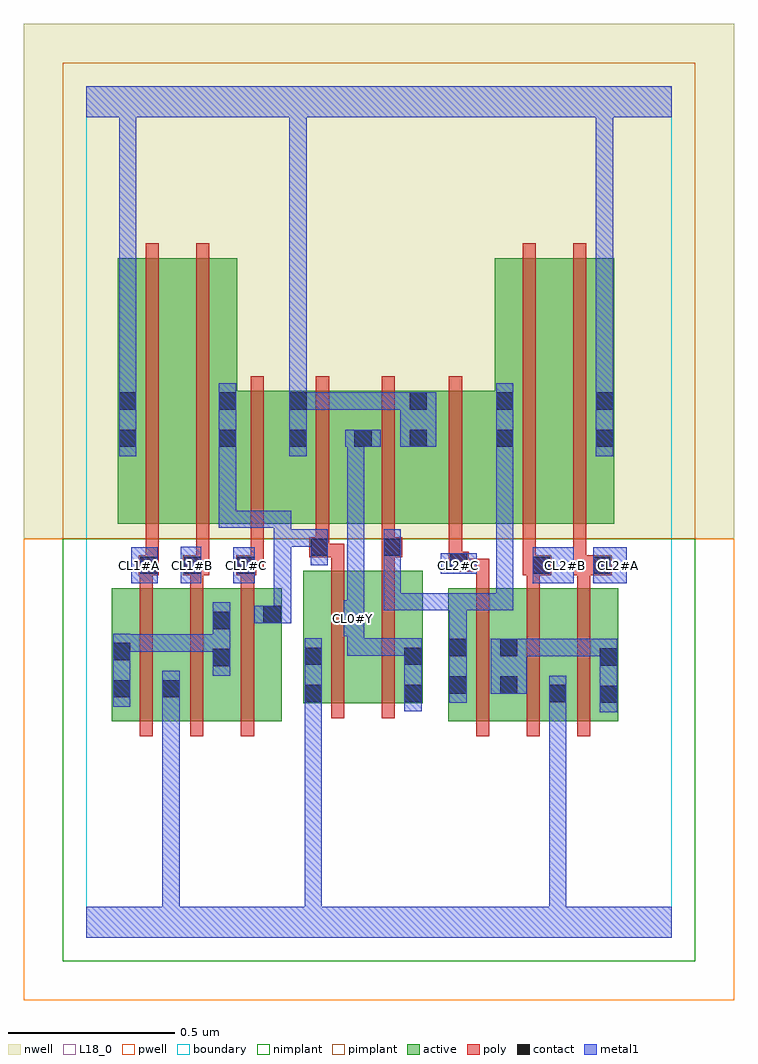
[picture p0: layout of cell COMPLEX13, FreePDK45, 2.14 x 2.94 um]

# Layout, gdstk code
import gdstk
lib = gdstk.Library(unit=1e-6, precision=1e-09)
def R(c, l, rs):  # rectangles x0, y0, x1, y1
    for r in rs: c.add(gdstk.rectangle(r[:2], r[2:], *l))
def A(c, l, x, y, w, h, nx, ny, dx, dy):  # array of equal rectangles
    R(c, l, [(x+i*dx, y+j*dy, x+i*dx+w, y+j*dy+h) for i in range(nx) for j in range(ny)])
active = (1, 0)
pwell = (2, 0)
nwell = (3, 0)
nimplant = (4, 0)
pimplant = (5, 0)
poly = (9, 0)
contact = (10, 0)
metal1 = (11, 0)
L18_0 = (18, 0)
boundary = (235, 0)

complex13 = lib.new_cell('COMPLEX13')
A(complex13, active, 0.224, 0.65, 0.06, 0.4, 3, 1, 0.152, 0)
R(complex13, active, [(0.076,0.65,0.136,1.05), (0.076,0.65,0.284,1.05), (0.224,0.65,0.436,1.05), (0.376,0.65,0.588,1.05), (1.088,0.65,1.3,1.05), (1.24,0.65,1.448,1.05), (1.388,0.65,1.6,1.05), (1.388,0.65,1.448,0.902), (1.54,0.65,1.6,1.05), (0.652,0.704,0.712,1.104), (0.652,0.704,0.832,1.104), (0.832,0.704,1.012,1.104), (0.952,0.704,1.012,1.104), (1.088,0.73,1.148,1.05), (1.24,0.73,1.3,0.902), (0.094,1.244,0.154,2.044), (0.094,1.244,0.274,2.044), (0.274,1.244,0.454,2.044), (0.394,1.244,0.454,2.044), (0.394,1.244,0.666,1.644), (0.606,1.244,0.666,1.644), (0.606,1.244,0.862,1.644), (0.802,1.244,0.862,1.644), (0.802,1.244,1.028,1.644), (0.968,1.244,1.028,1.644), (0.968,1.244,1.288,1.644), (1.228,1.244,1.288,2.044), (1.228,1.244,1.408,2.044), (1.408,1.244,1.588,2.044), (1.528,1.244,1.588,2.044)])
R(complex13, pwell, [(-0.188,-0.188,1.948,1.2)])
R(complex13, nwell, [(-0.188,1.2,1.948,2.748)])
R(complex13, nimplant, [(-0.072,-0.072,1.832,1.2)])
R(complex13, pimplant, [(-0.072,1.2,1.832,2.632)])
A(complex13, poly, 0.16, 0.606, 0.04, 0.488, 3, 1, 0.152, 0)
A(complex13, poly, 1.172, 0.606, 0.04, 0.488, 3, 1, 0.152, 0)
A(complex13, poly, 0.16, 1.054, 0.04, 0.076, 3, 1, 0.152, 0)
R(complex13, poly, [(0.736,0.66,0.776,1.148), (0.888,0.66,0.928,1.148), (1.172,1.054,1.212,1.14), (1.324,1.054,1.364,1.13), (1.476,1.054,1.516,1.13), (0.158,1.09,0.218,1.15), (0.16,1.09,0.2,1.13), (0.16,1.09,0.2,1.13), (0.29,1.09,0.37,1.15), (0.312,1.09,0.352,1.13), (0.312,1.09,0.352,1.13), (0.45,1.09,0.51,1.15), (1.312,1.09,1.398,1.15), (1.324,1.09,1.364,1.13), (1.324,1.09,1.364,1.13), (1.464,1.09,1.58,1.15), (1.476,1.09,1.516,1.13), (1.476,1.09,1.516,1.13), (1.09,1.1,1.15,1.16), (1.11,1.1,1.15,1.14), (1.11,1.1,1.212,1.14), (0.736,1.108,0.776,1.184), (0.888,1.108,0.928,1.184), (0.178,1.11,0.218,1.24), (0.33,1.11,0.37,1.24), (0.47,1.11,0.51,1.15), (0.47,1.11,0.534,1.15), (0.494,1.11,0.534,1.24), (1.312,1.11,1.352,1.24), (1.464,1.11,1.504,1.24), (1.09,1.12,1.13,1.24), (0.67,1.144,0.73,1.204), (0.69,1.144,0.73,1.184), (0.69,1.144,0.776,1.184), (0.888,1.144,0.95,1.204), (0.69,1.164,0.73,1.24), (0.888,1.164,0.928,1.204), (0.888,1.164,0.928,1.204), (0.888,1.164,0.928,1.24), (0.178,1.2,0.218,2.088), (0.33,1.2,0.37,2.088), (0.494,1.2,0.534,1.688), (0.69,1.2,0.73,1.688), (0.888,1.2,0.928,1.688), (1.09,1.2,1.13,1.688), (1.312,1.2,1.352,2.088), (1.464,1.2,1.504,2.088)])
R(complex13, contact, [(1.544,0.706,1.596,0.758), (0.656,0.708,0.708,0.76), (0.956,0.708,1.008,0.76), (1.392,0.708,1.444,0.76), (0.08,0.722,0.132,0.774), (0.228,0.722,0.28,0.774), (1.092,0.734,1.144,0.786), (1.244,0.734,1.296,0.786), (0.38,0.816,0.432,0.868), (1.544,0.818,1.596,0.87), (0.656,0.82,0.708,0.872), (0.956,0.82,1.008,0.872), (0.08,0.834,0.132,0.886), (1.092,0.846,1.144,0.898), (1.244,0.846,1.296,0.898), (0.38,0.928,0.432,0.98), (0.532,0.946,0.584,0.998), (0.162,1.094,0.214,1.146), (0.294,1.094,0.346,1.146), (0.454,1.094,0.506,1.146), (1.342,1.094,1.394,1.146), (1.524,1.094,1.576,1.146), (1.094,1.104,1.146,1.156), (0.674,1.148,0.726,1.2), (0.894,1.148,0.946,1.2), (0.098,1.476,0.15,1.528), (0.398,1.476,0.45,1.528), (0.61,1.476,0.662,1.528), (0.806,1.476,0.858,1.528), (0.972,1.476,1.024,1.528), (1.232,1.476,1.284,1.528), (1.532,1.476,1.584,1.528), (0.098,1.588,0.15,1.64), (0.398,1.588,0.45,1.64), (0.61,1.588,0.662,1.64), (0.972,1.588,1.024,1.64), (1.232,1.588,1.284,1.64), (1.532,1.588,1.584,1.64)])
R(complex13, metal1, [(0,0,1.76,0.092), (0.228,0.04,0.28,0.092), (0.228,0.04,0.28,0.092), (0.228,0.04,0.28,0.092), (0.228,0.04,0.28,0.092), (0.228,0.04,0.28,0.092), (0.228,0.04,0.28,0.092), (0.228,0.04,0.28,0.092), (0.228,0.04,0.28,0.092), (0.228,0.04,0.28,0.092), (0.228,0.04,0.28,0.092), (0.228,0.04,0.28,0.746), (0.656,0.04,0.708,0.092), (0.656,0.04,0.708,0.092), (0.656,0.04,0.708,0.092), (0.656,0.04,0.708,0.092), (0.656,0.04,0.708,0.092), (0.656,0.04,0.708,0.092), (0.656,0.04,0.708,0.092), (0.656,0.04,0.708,0.092), (0.656,0.04,0.708,0.092), (0.656,0.04,0.708,0.092), (0.656,0.04,0.708,0.732), (1.392,0.04,1.444,0.092), (1.392,0.04,1.444,0.092), (1.392,0.04,1.444,0.092), (1.392,0.04,1.444,0.092), (1.392,0.04,1.444,0.092), (1.392,0.04,1.444,0.092), (1.392,0.04,1.444,0.092), (1.392,0.04,1.444,0.092), (1.392,0.04,1.444,0.732), (1.544,0.678,1.596,0.898), (0.656,0.68,0.708,0.732), (0.656,0.68,0.708,0.732), (0.656,0.68,0.708,0.9), (0.956,0.68,1.008,0.9), (1.392,0.68,1.444,0.732), (1.392,0.68,1.444,0.732), (1.392,0.68,1.444,0.732), (1.392,0.68,1.444,0.732), (1.392,0.68,1.444,0.788), (0.08,0.694,0.132,0.914), (0.228,0.694,0.28,0.746), (0.228,0.694,0.28,0.746), (0.228,0.694,0.28,0.802), (1.092,0.706,1.144,0.926), (1.216,0.734,1.324,0.898), (0.38,0.788,0.432,1.008), (1.272,0.846,1.324,0.898), (1.272,0.846,1.324,0.898), (1.272,0.846,1.468,0.898), (1.416,0.846,1.468,0.898), (1.416,0.846,1.468,0.898), (1.416,0.846,1.468,0.898), (1.416,0.846,1.596,0.898), (0.784,0.848,0.836,0.9), (0.784,0.848,1.008,0.9), (0.784,0.848,0.836,0.958), (0.956,0.848,1.008,0.9), (0.956,0.848,1.008,0.9), (0.08,0.86,0.132,0.912), (0.08,0.86,0.132,0.912), (0.08,0.86,0.322,0.912), (0.27,0.86,0.322,0.912), (0.27,0.86,0.322,0.912), (0.27,0.86,0.322,0.912), (0.27,0.86,0.432,0.912), (1.092,0.874,1.144,1.036), (0.774,0.906,0.836,1.014), (0.504,0.946,0.616,0.998), (0.564,0.946,0.616,1.228), (0.784,0.962,0.836,1.014), (0.784,0.962,0.836,1.014), (0.784,0.962,0.836,1.528), (0.894,0.984,1.144,1.036), (0.894,0.984,0.946,1.172), (1.092,0.984,1.144,1.036), (1.092,0.984,1.144,1.036), (1.092,0.984,1.144,1.036), (1.092,0.984,1.284,1.036), (1.232,0.984,1.284,1.036), (1.232,0.984,1.284,1.5), (0.134,1.066,0.214,1.174), (0.284,1.066,0.346,1.176), (0.442,1.066,0.506,1.174), (1.342,1.066,1.466,1.174), (1.524,1.066,1.626,1.174), (1.066,1.094,1.174,1.156), (0.674,1.12,0.726,1.228), (0.894,1.12,0.946,1.172), (0.894,1.12,0.946,1.228), (0.564,1.176,0.616,1.228), (0.564,1.176,0.616,1.228), (0.564,1.176,0.616,1.228), (0.564,1.176,0.616,1.228), (0.564,1.176,0.616,1.284), (0.564,1.176,0.726,1.228), (0.398,1.232,0.45,1.284), (0.398,1.232,0.506,1.284), (0.398,1.232,0.45,1.5), (0.454,1.232,0.506,1.284), (0.454,1.232,0.616,1.284), (0.098,1.448,0.15,1.668), (0.398,1.448,0.45,1.668), (0.61,1.448,0.662,1.668), (1.232,1.448,1.284,1.5), (1.232,1.448,1.284,1.5), (1.232,1.448,1.284,1.668), (1.532,1.448,1.584,1.668), (0.778,1.476,0.886,1.528), (0.944,1.476,1.052,1.64), (0.61,1.588,0.83,1.64), (0.778,1.588,0.83,1.64), (0.778,1.588,0.83,1.64), (0.778,1.588,0.83,1.64), (0.778,1.588,0.996,1.64), (0.944,1.588,0.996,1.64), (0.944,1.588,0.996,1.64), (0.098,1.616,0.15,1.832), (0.61,1.616,0.662,2.52), (1.532,1.616,1.584,1.668), (1.532,1.616,1.584,1.668), (1.532,1.616,1.584,1.668), (1.532,1.616,1.584,1.668), (1.532,1.616,1.584,2.52), (0.098,1.78,0.15,1.832), (0.098,1.78,0.15,2.52), (0,2.468,1.76,2.56), (0.098,2.468,0.15,2.52), (0.098,2.468,0.15,2.52), (0.098,2.468,0.15,2.52), (0.098,2.468,0.15,2.52), (0.098,2.468,0.15,2.52), (0.098,2.468,0.15,2.52), (0.61,2.468,0.662,2.52), (0.61,2.468,0.662,2.52), (0.61,2.468,0.662,2.52), (0.61,2.468,0.662,2.52), (0.61,2.468,0.662,2.52), (0.61,2.468,0.662,2.52), (0.61,2.468,0.662,2.52), (0.61,2.468,0.662,2.52), (0.61,2.468,0.662,2.52), (0.61,2.468,0.662,2.52), (0.61,2.468,0.662,2.52), (0.61,2.468,0.662,2.52), (0.61,2.468,0.662,2.52), (0.61,2.468,0.662,2.52), (0.61,2.468,0.662,2.52), (0.61,2.468,0.662,2.52), (1.532,2.468,1.584,2.52), (1.532,2.468,1.584,2.52), (1.532,2.468,1.584,2.52), (1.532,2.468,1.584,2.52)])
A(complex13, L18_0, 0.134, 1.094, 0.052, 0.052, 3, 1, 0.16, 0)
R(complex13, L18_0, [(0,0,1.76,0.092), (0.228,0.04,0.28,0.092), (0.228,0.04,0.28,0.092), (0.228,0.04,0.28,0.092), (0.228,0.04,0.28,0.092), (0.228,0.04,0.28,0.092), (0.228,0.04,0.28,0.092), (0.228,0.04,0.28,0.092), (0.228,0.04,0.28,0.092), (0.228,0.04,0.28,0.092), (0.228,0.04,0.28,0.092), (0.228,0.04,0.28,0.746), (0.656,0.04,0.708,0.092), (0.656,0.04,0.708,0.092), (0.656,0.04,0.708,0.092), (0.656,0.04,0.708,0.092), (0.656,0.04,0.708,0.092), (0.656,0.04,0.708,0.092), (0.656,0.04,0.708,0.092), (0.656,0.04,0.708,0.092), (0.656,0.04,0.708,0.092), (0.656,0.04,0.708,0.092), (0.656,0.04,0.708,0.732), (1.392,0.04,1.444,0.092), (1.392,0.04,1.444,0.092), (1.392,0.04,1.444,0.092), (1.392,0.04,1.444,0.092), (1.392,0.04,1.444,0.092), (1.392,0.04,1.444,0.092), (1.392,0.04,1.444,0.092), (1.392,0.04,1.444,0.092), (1.392,0.04,1.444,0.732), (0.656,0.68,0.708,0.9), (0.656,0.68,0.708,0.732), (0.656,0.68,0.708,0.732), (0.956,0.68,1.008,0.9), (1.392,0.68,1.444,0.732), (1.392,0.68,1.444,0.732), (1.392,0.68,1.444,0.732), (1.392,0.68,1.444,0.732), (1.392,0.68,1.444,0.788), (0.228,0.694,0.28,0.746), (0.228,0.694,0.28,0.746), (0.228,0.694,0.28,0.802), (0.784,0.848,0.836,0.9), (0.784,0.848,0.836,0.958), (0.784,0.848,1.008,0.9), (0.956,0.848,1.008,0.9), (0.956,0.848,1.008,0.9), (0.774,0.906,0.836,1.014), (0.774,0.934,0.826,0.986), (0.784,0.962,0.836,1.014), (0.784,0.962,0.836,1.014), (0.784,0.962,0.836,1.528), (0.134,1.066,0.214,1.174), (0.284,1.066,0.346,1.176), (0.442,1.066,0.506,1.174), (1.342,1.066,1.466,1.174), (1.524,1.066,1.626,1.174), (1.066,1.094,1.174,1.156), (1.094,1.094,1.146,1.146), (1.414,1.094,1.466,1.146), (1.574,1.094,1.626,1.146), (0.098,1.448,0.15,1.668), (0.61,1.448,0.662,1.668), (1.532,1.448,1.584,1.668), (0.778,1.476,0.886,1.528), (0.944,1.476,1.052,1.64), (0.61,1.588,0.83,1.64), (0.778,1.588,0.83,1.64), (0.778,1.588,0.83,1.64), (0.778,1.588,0.83,1.64), (0.778,1.588,0.996,1.64), (0.944,1.588,0.996,1.64), (0.944,1.588,0.996,1.64), (0.098,1.616,0.15,1.832), (0.61,1.616,0.662,2.52), (1.532,1.616,1.584,1.668), (1.532,1.616,1.584,1.668), (1.532,1.616,1.584,1.668), (1.532,1.616,1.584,1.668), (1.532,1.616,1.584,2.52), (0.098,1.78,0.15,1.832), (0.098,1.78,0.15,2.52), (0,2.468,1.76,2.56), (0.098,2.468,0.15,2.52), (0.098,2.468,0.15,2.52), (0.098,2.468,0.15,2.52), (0.098,2.468,0.15,2.52), (0.098,2.468,0.15,2.52), (0.098,2.468,0.15,2.52), (0.61,2.468,0.662,2.52), (0.61,2.468,0.662,2.52), (0.61,2.468,0.662,2.52), (0.61,2.468,0.662,2.52), (0.61,2.468,0.662,2.52), (0.61,2.468,0.662,2.52), (0.61,2.468,0.662,2.52), (0.61,2.468,0.662,2.52), (0.61,2.468,0.662,2.52), (0.61,2.468,0.662,2.52), (0.61,2.468,0.662,2.52), (0.61,2.468,0.662,2.52), (0.61,2.468,0.662,2.52), (0.61,2.468,0.662,2.52), (0.61,2.468,0.662,2.52), (0.61,2.468,0.662,2.52), (1.532,2.468,1.584,2.52), (1.532,2.468,1.584,2.52), (1.532,2.468,1.584,2.52), (1.532,2.468,1.584,2.52)])
R(complex13, boundary, [(0,0,1.76,2.56)])
complex13.add(gdstk.Label('CL0#Y', (0.8,0.96), layer=11, texttype=0))
complex13.add(gdstk.Label('CL1#A', (0.16,1.12), layer=11, texttype=0))
complex13.add(gdstk.Label('CL1#B', (0.32,1.12), layer=11, texttype=0))
complex13.add(gdstk.Label('CL1#C', (0.48,1.12), layer=11, texttype=0))
complex13.add(gdstk.Label('CL2#A', (1.6,1.12), layer=11, texttype=0))
complex13.add(gdstk.Label('CL2#B', (1.44,1.12), layer=11, texttype=0))
complex13.add(gdstk.Label('CL2#C', (1.12,1.12), layer=11, texttype=0))

lib.write_gds('COMPLEX13.gds')
